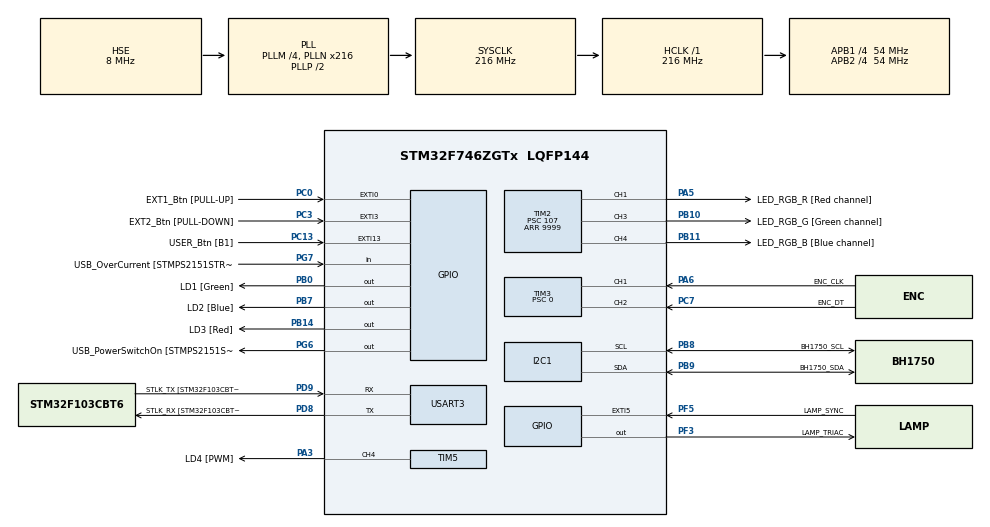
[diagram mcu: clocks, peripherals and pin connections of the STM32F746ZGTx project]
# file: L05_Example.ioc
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I2C1.Timing=0x20404768
Mcu.Family=STM32F7
Mcu.Name=STM32F746ZGTx
Mcu.Package=LQFP144
NVIC.EXTI15_10_IRQn=true\:0\:0\:false\:false\:true\:true\:true\:true
NVIC.EXTI9_5_IRQn=true\:0\:0\:false\:false\:true\:true\:true\:true
NVIC.PriorityGroup=NVIC_PRIORITYGROUP_4
NVIC.TIM2_IRQn=true\:0\:0\:false\:false\:true\:true\:true\:true
NVIC.TIM6_DAC_IRQn=true\:0\:0\:false\:false\:true\:true\:true\:true
NVIC.USART3_IRQn=true\:0\:0\:false\:false\:true\:true\:true\:true
PA1.GPIO_Label=RMII_REF_CLK [LAN8742A-CZ-TR_REFCLK0]
PA1.Signal=ETH_REF_CLK
PA10.GPIO_Label=USB_ID
PA10.Signal=USB_OTG_FS_ID
PA11.GPIO_Label=USB_DM
PA11.Signal=USB_OTG_FS_DM
PA12.GPIO_Label=USB_DP
PA12.Signal=USB_OTG_FS_DP
PA13.GPIO_Label=TMS
PA13.Mode=Serial_Wire
PA13.Signal=SYS_JTMS-SWDIO
PA14.GPIO_Label=TCK
PA14.Mode=Serial_Wire
PA14.Signal=SYS_JTCK-SWCLK
PA2.GPIO_Label=RMII_MDIO [LAN8742A-CZ-TR_MDIO]
PA2.Signal=ETH_MDIO
PA3.GPIO_Label=LD4 [PWM]
PA3.Signal=S_TIM5_CH4
PA5.GPIO_Label=LED_RGB_R [Red channel]
PA5.Signal=S_TIM2_CH1_ETR
PA6.GPIO_Label=ENC_CLK
PA6.Signal=S_TIM3_CH1
PA7.GPIO_Label=RMII_CRS_DV [LAN8742A-CZ-TR_CRS_DV]
PA7.Signal=ETH_CRS_DV
PA8.GPIO_Label=USB_SOF [TP1]
PA8.Signal=USB_OTG_FS_SOF
PA9.GPIO_Label=USB_VBUS
PA9.Signal=USB_OTG_FS_VBUS
PB0.GPIO_Label=LD1 [Green]
PB0.Signal=GPIO_Output
PB10.GPIO_Label=LED_RGB_G [Green channel]
PB10.Signal=S_TIM2_CH3
PB11.GPIO_Label=LED_RGB_B [Blue channel]
PB11.Signal=S_TIM2_CH4
PB13.GPIO_Label=RMII_TXD1 [LAN8742A-CZ-TR_TXD1]
PB13.Signal=ETH_TXD1
PB14.GPIO_Label=LD3 [Red]
PB14.Signal=GPIO_Output
PB3.GPIO_Label=SW0
PB3.Signal=SYS_JTDO-SWO
PB7.GPIO_Label=LD2 [Blue]
PB7.Signal=GPIO_Output
PB8.GPIO_Label=BH1750_SCL
PB8.Mode=I2C
PB8.Signal=I2C1_SCL
PB9.GPIO_Label=BH1750_SDA
PB9.Mode=I2C
PB9.Signal=I2C1_SDA
PC0.GPIO_Label=EXT1_Btn [PULL-UP]
PC0.GPIO_ModeDefaultEXTI=GPIO_MODE_IT_FALLING
PC0.GPIO_PuPd=GPIO_PULLUP
PC0.Signal=GPXTI0
PC1.GPIO_Label=RMII_MDC [LAN8742A-CZ-TR_MDC]
PC1.Signal=ETH_MDC
PC13.GPIO_Label=USER_Btn [B1]
PC13.Signal=GPXTI13
PC14/OSC32_IN.Mode=LSE-External-Oscillator
PC14/OSC32_IN.Signal=RCC_OSC32_IN
PC15/OSC32_OUT.Mode=LSE-External-Oscillator
PC15/OSC32_OUT.Signal=RCC_OSC32_OUT
PC3.GPIO_Label=EXT2_Btn [PULL-DOWN]
PC3.GPIO_PuPd=GPIO_PULLDOWN
PC3.Signal=GPXTI3
PC4.GPIO_Label=RMII_RXD0 [LAN8742A-CZ-TR_RXD0]
PC4.Signal=ETH_RXD0
PC5.GPIO_Label=RMII_RXD1 [LAN8742A-CZ-TR_RXD1]
PC5.Signal=ETH_RXD1
PC7.GPIO_Label=ENC_DT
PC7.Signal=S_TIM3_CH2
PD8.GPIO_Label=STLK_RX [STM32F103CBT6_PA3]
PD8.Mode=Asynchronous
PD8.Signal=USART3_TX
PD9.GPIO_Label=STLK_TX [STM32F103CBT6_PA2]
PD9.Mode=Asynchronous
PD9.Signal=USART3_RX
PF3.GPIO_Label=LAMP_TRIAC
PF3.GPIO_Speed=GPIO_SPEED_FREQ_HIGH
PF3.Signal=GPIO_Output
PF5.GPIO_Label=LAMP_SYNC
PF5.Signal=GPXTI5
PG11.GPIO_Label=RMII_TX_EN [LAN8742A-CZ-TR_TXEN]
PG11.Signal=ETH_TX_EN
PG13.GPIO_Label=RMII_TXD0 [LAN8742A-CZ-TR_TXD0]
PG13.Signal=ETH_TXD0
PG6.GPIO_Label=USB_PowerSwitchOn [STMPS2151STR_EN]
PG6.Signal=GPIO_Output
PG7.GPIO_Label=USB_OverCurrent [STMPS2151STR_FAULT]
PG7.Signal=GPIO_Input
PH0/OSC_IN.GPIO_Label=MCO [STM32F103CBT6_PA8]
PH0/OSC_IN.Mode=HSE-External-Clock-Source
PH0/OSC_IN.Signal=RCC_OSC_IN
PH1/OSC_OUT.Mode=HSE-External-Clock-Source
PH1/OSC_OUT.Signal=RCC_OSC_OUT
ProjectManager.HeapSize=0x200
ProjectManager.StackSize=0x400
ProjectManager.TargetToolchain=STM32CubeIDE
RCC.48MHZClocksFreq_Value=24000000
RCC.AHBFreq_Value=216000000
RCC.APB1CLKDivider=RCC_HCLK_DIV4
RCC.APB1Freq_Value=54000000
RCC.APB1TimFreq_Value=108000000
RCC.APB2CLKDivider=RCC_HCLK_DIV4
RCC.APB2Freq_Value=54000000
RCC.APB2TimFreq_Value=108000000
RCC.CortexFreq_Value=216000000
RCC.HCLKFreq_Value=216000000
RCC.HSE_VALUE=8000000
RCC.HSI_VALUE=16000000
RCC.PLLM=4
RCC.PLLMUL=RCC_PLL_MUL9
RCC.PLLN=216
RCC.PLLQ=3
RCC.PLLSourceVirtual=RCC_PLLSOURCE_HSE
RCC.PRESCALERUSB=RCC_USBCLKSOURCE_PLL_DIV1_5
RCC.SYSCLKFreq_VALUE=216000000
RCC.SYSCLKSource=RCC_SYSCLKSOURCE_PLLCLK
RCC.SYSCLKSourceVirtual=RCC_SYSCLKSOURCE_PLLCLK
RCC.USART3CLockSelection=RCC_USART3CLKSOURCE_SYSCLK
RCC.USBFreq_Value=144000000
RCC.VCOOutputFreq_Value=432000000
SH.S_TIM2_CH1_ETR.0=TIM2_CH1,PWM Generation1 CH1
SH.S_TIM2_CH3.0=TIM2_CH3,PWM Generation3 CH3
SH.S_TIM2_CH4.0=TIM2_CH4,PWM Generation4 CH4
SH.S_TIM3_CH1.0=TIM3_CH1,Encoder_Interface
SH.S_TIM3_CH2.0=TIM3_CH2,Encoder_Interface
SH.S_TIM5_CH4.0=TIM5_CH4,PWM Generation4 CH4
TIM2.Channel-PWM\ Generation1\ CH1=TIM_CHANNEL_1
TIM2.Channel-PWM\ Generation3\ CH3=TIM_CHANNEL_3
TIM2.Channel-PWM\ Generation4\ CH4=TIM_CHANNEL_4
TIM2.Period=9999
TIM2.Prescaler=107
TIM3.EncoderMode=TIM_ENCODERMODE_TI12
TIM3.IC1Filter=15
TIM3.IC2Filter=15
TIM3.Period=400
TIM3.Prescaler=0
TIM5.Channel-PWM\ Generation4\ CH4=TIM_CHANNEL_4
TIM5.Period=999
TIM5.Prescaler=107
TIM6.Period=999
TIM6.Prescaler=107
USART3.VirtualMode-Asynchronous=VM_ASYNC
VP_TIM2_VS_ClockSourceINT.Mode=Internal
VP_TIM5_VS_ClockSourceINT.Mode=Internal
VP_TIM6_VS_ClockSourceINT.Mode=Enable_Timer
board=NUCLEO-F746ZG

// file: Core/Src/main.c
/* USER CODE BEGIN Header */
/**
  ******************************************************************************
  * @file           : main.c
  * @brief          : Main program body
  ******************************************************************************
  * @attention
  *
  * Copyright (c) 2022 STMicroelectronics.
  * All rights reserved.
  *
  * This software is licensed under terms that can be found in the LICENSE file
  * in the root directory of this software component.
  * If no LICENSE file comes with this software, it is provided AS-IS.
  *
  ******************************************************************************
  */
/* USER CODE END Header */
#include "main.h"
#include "i2c.h"
#include "tim.h"
#include "usart.h"
#include "gpio.h"

/* USER CODE BEGIN Includes */
#include <stdio.h>
#include "encoder_config.h"
#include "led_config.h"
#include "bh1750_config.h"
/* USER CODE END Includes */

/* USER CODE BEGIN PV */
float light;
uint32_t cnt = 0;
/* USER CODE END PV */

void SystemClock_Config(void);

/* USER CODE BEGIN 0 */
/**
  * @brief  Period elapsed callback in non-blocking mode
  * @param  htim TIM handle
  * @retval None
  */
void HAL_TIM_PeriodElapsedCallback(TIM_HandleTypeDef *htim)
{
  if(htim==&htim6)
  {
    cnt = ENC_GetCounter(&henc1);
    LED_PWM_WriteDuty(&hld4, cnt / 4.0f);
  }
}
/* USER CODE END 0 */

int main(void)
{

  /* MCU Configuration--------------------------------------------------------*/

  /* Reset of all peripherals, Initializes the Flash interface and the Systick. */
  HAL_Init();

  /* Configure the system clock */
  SystemClock_Config();

  /* Initialize all configured peripherals */
  MX_GPIO_Init();
  MX_USART3_UART_Init();
  MX_TIM2_Init();
  MX_TIM3_Init();
  MX_TIM5_Init();
  MX_I2C1_Init();
  MX_TIM6_Init();
  /* USER CODE BEGIN 2 */
  ENC_Init(&henc1);
  LED_PWM_Init(&hld4);
  LED_PWM_Init(&hldr);
  LED_PWM_Init(&hldg);
  LED_PWM_Init(&hldb);
  BH1750_Init(&hbh1750_1);
  //HAL_TIM_Base_Start_IT(&htim6);
  /* USER CODE END 2 */

  /* Infinite loop */
  /* USER CODE BEGIN WHILE */
  char msg[32] = { 0, };
  int msg_len = sprintf(msg, "PWM, LIGTH\r\n");
  HAL_UART_Transmit(&huart3, (uint8_t*)msg, msg_len, 100);
  while (1)
  {
    light = BH1750_ReadIlluminance_lux(&hbh1750_1);
    char msg[32] = { 0, };
    int msg_len = sprintf(msg, "%d, %d\r\n", (int)LED_PWM_ReadDuty(&hld4), (int)light);
    HAL_UART_Transmit(&huart3, (uint8_t*)msg, msg_len, 100);
    LED_PWM_WriteDuty(&hld4, (float)cnt);
    cnt = (cnt < 100) ? (cnt+1) : (0);
    HAL_Delay(1000);
    /* USER CODE END WHILE */

  }
}

void SystemClock_Config(void)
{
  RCC_OscInitTypeDef RCC_OscInitStruct = {0};
  RCC_ClkInitTypeDef RCC_ClkInitStruct = {0};

  /** Configure LSE Drive Capability
  */
  HAL_PWR_EnableBkUpAccess();

  /** Configure the main internal regulator output voltage
  */
  __HAL_RCC_PWR_CLK_ENABLE();
  __HAL_PWR_VOLTAGESCALING_CONFIG(PWR_REGULATOR_VOLTAGE_SCALE1);

  /** Initializes the RCC Oscillators according to the specified parameters
  * in the RCC_OscInitTypeDef structure.
  */
  RCC_OscInitStruct.OscillatorType = RCC_OSCILLATORTYPE_HSE;
  RCC_OscInitStruct.HSEState = RCC_HSE_BYPASS;
  RCC_OscInitStruct.PLL.PLLState = RCC_PLL_ON;
  RCC_OscInitStruct.PLL.PLLSource = RCC_PLLSOURCE_HSE;
  RCC_OscInitStruct.PLL.PLLM = 4;
  RCC_OscInitStruct.PLL.PLLN = 216;
  RCC_OscInitStruct.PLL.PLLP = RCC_PLLP_DIV2;
  RCC_OscInitStruct.PLL.PLLQ = 3;
  if (HAL_RCC_OscConfig(&RCC_OscInitStruct) != HAL_OK)
  {
    Error_Handler();
  }

  /** Activate the Over-Drive mode
  */
  if (HAL_PWREx_EnableOverDrive() != HAL_OK)
  {
    Error_Handler();
  }

  /** Initializes the CPU, AHB and APB buses clocks
  */
  RCC_ClkInitStruct.ClockType = RCC_CLOCKTYPE_HCLK|RCC_CLOCKTYPE_SYSCLK
                              |RCC_CLOCKTYPE_PCLK1|RCC_CLOCKTYPE_PCLK2;
  RCC_ClkInitStruct.SYSCLKSource = RCC_SYSCLKSOURCE_PLLCLK;
  RCC_ClkInitStruct.AHBCLKDivider = RCC_SYSCLK_DIV1;
  RCC_ClkInitStruct.APB1CLKDivider = RCC_HCLK_DIV4;
  RCC_ClkInitStruct.APB2CLKDivider = RCC_HCLK_DIV4;

  if (HAL_RCC_ClockConfig(&RCC_ClkInitStruct, FLASH_LATENCY_7) != HAL_OK)
  {
    Error_Handler();
  }
}

void Error_Handler(void)
{
  __disable_irq();
  while (1)
  {
  }
}
